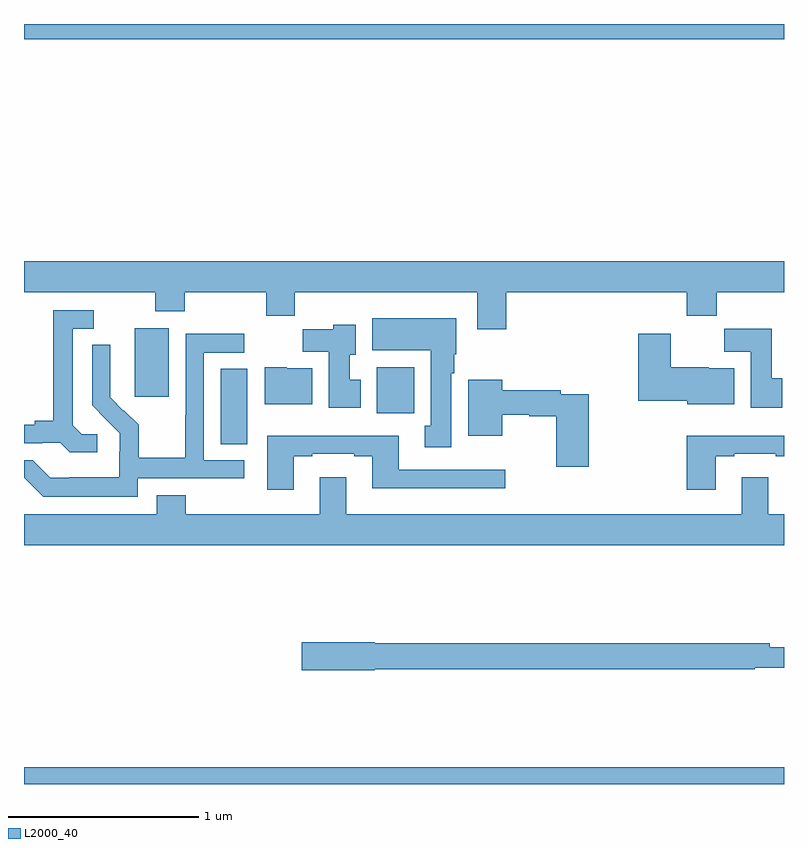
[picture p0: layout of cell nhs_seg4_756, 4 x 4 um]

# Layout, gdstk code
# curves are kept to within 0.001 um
import gdstk
lib = gdstk.Library(unit=1e-6, precision=1e-09)
def R(c, l, rs):  # rectangles x0, y0, x1, y1
    for r in rs: c.add(gdstk.rectangle(r[:2], r[2:], *l))
def P(c, l, *ps):  # polygons
    for p in ps: c.add(gdstk.Polygon(p, *l))
L2000_40 = (2000, 40)

nhs_seg4_756 = lib.new_cell('nhs_seg4_756')
R(nhs_seg4_756, L2000_40, [(149,792.9,153,792.988), (150.035,794.689,150.175,795.086), (150.857,794.852,151.054,795.094), (149.582,794.937,149.761,795.298), (149,796.82,153,796.9)])
P(nhs_seg4_756, L2000_40, [(151.538,795.488),(152.489,795.488),(152.489,795.364),(152.645,795.364),(152.645,795.488),(153,795.488),(153,795.652),(149,795.652),(149,795.488),(149.692,795.488),(149.692,795.389),(149.847,795.389),(149.847,795.488),(150.274,795.488),(150.274,795.364),(150.425,795.364),(150.425,795.488),(151.385,795.488),(151.385,795.294),(151.538,795.294)],
  [(149.386,794.742),(149.304,794.742),(149.257,794.789),(149.257,795.297),(149.368,795.297),(149.368,795.393),(149.153,795.393),(149.153,794.813),(149.057,794.813),(149.057,794.79),(149,794.79),(149,794.694),(149.096,794.694),(149.096,794.697),(149.19,794.697),(149.242,794.645),(149.386,794.645)],
  [(151.249,795.062),(151.264,795.062),(151.264,795.162),(151.276,795.162),(151.276,795.352),(150.833,795.352),(150.833,795.182),(151.142,795.182),(151.142,794.786),(151.109,794.786),(151.109,794.673),(151.249,794.673)],
  [(150.772,795.028),(150.715,795.028),(150.715,795.158),(150.745,795.158),(150.745,795.316),(150.627,795.316),(150.627,795.294),(150.466,795.294),(150.466,795.176),(150.605,795.176),(150.605,794.88),(150.772,794.88)],
  [(152.992,795.036),(152.935,795.036),(152.935,795.295),(152.686,795.295),(152.686,795.176),(152.825,795.176),(152.825,794.88),(152.992,794.88)],
  [(152.737,795.088),(152.604,795.088),(152.604,795.094),(152.404,795.094),(152.404,795.271),(152.234,795.271),(152.234,794.918),(152.49,794.918),(152.49,794.9),(152.737,794.9)],
  [(149.598,794.508),(150.16,794.508),(150.16,794.604),(149.946,794.604),(149.946,795.171),(150.16,795.171),(150.16,795.27),(149.85,795.27),(149.85,794.84),(149.848,794.84),(149.848,794.617),(149.603,794.617),(149.603,794.791),(149.526,794.868),(149.523,794.865),(149.453,794.936),(149.454,795.212),(149.358,795.212),(149.358,794.894),(149.504,794.746),(149.504,794.649),(149.502,794.649),(149.502,794.515),(149.239,794.515),(149.239,794.511),(149.139,794.511),(149.046,794.604),(149,794.604),(149,794.511),(149.101,794.411),(149.598,794.411)],
  [(150.517,795.088),(150.384,795.088),(150.384,795.094),(150.266,795.094),(150.266,794.9),(150.517,794.9)],
  [(151.973,794.952),(151.826,794.952),(151.826,794.972),(151.516,794.972),(151.516,795.028),(151.337,795.028),(151.337,794.732),(151.516,794.732),(151.516,794.844),(151.659,794.844),(151.659,794.836),(151.802,794.836),(151.802,794.571),(151.973,794.571)],
  [(150.421,794.625),(150.517,794.625),(150.517,794.637),(150.737,794.637),(150.737,794.625),(150.833,794.625),(150.833,794.456),(151.534,794.456),(151.534,794.553),(150.973,794.553),(150.973,794.734),(150.281,794.734),(150.281,794.448),(150.421,794.448)],
  [(152.641,794.625),(152.737,794.625),(152.737,794.637),(152.957,794.637),(152.957,794.625),(153,794.625),(153,794.734),(152.489,794.734),(152.489,794.448),(152.641,794.448)],
  [(153,794.32),(152.917,794.32),(152.917,794.515),(152.777,794.515),(152.777,794.32),(150.697,794.32),(150.697,794.515),(150.557,794.515),(150.557,794.32),(149.852,794.32),(149.852,794.419),(149.699,794.419),(149.699,794.32),(149,794.32),(149,794.156),(153,794.156)],
  [(150.846,793.504),(152.846,793.504),(152.846,793.512),(153,793.512),(153,793.621),(152.924,793.621),(152.924,793.64),(150.846,793.64),(150.846,793.646),(150.462,793.646),(150.462,793.499),(150.846,793.499)])

lib.write_gds('nhs_seg4_756.gds')
